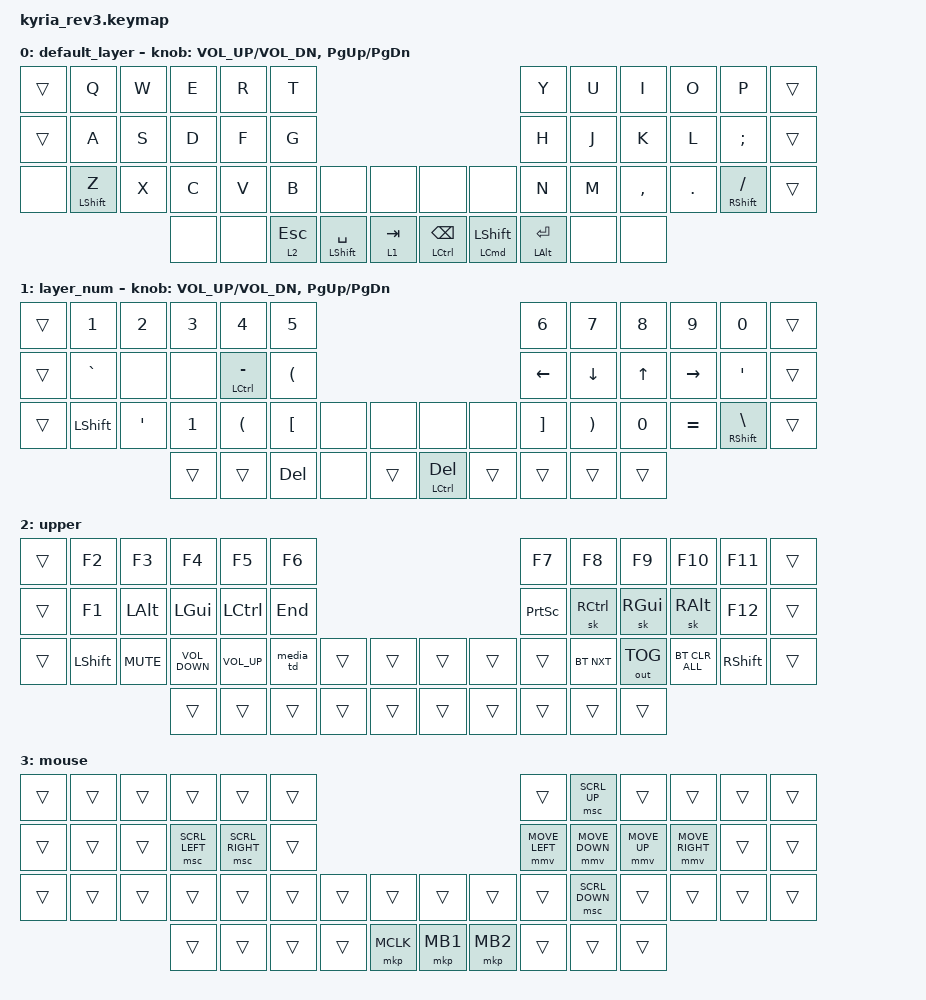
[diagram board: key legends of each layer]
/*
 * Copyright (c) 2020 The ZMK Contributors
 *
 * SPDX-License-Identifier: MIT
 */

#include <behaviors.dtsi>
#include <dt-bindings/zmk/bt.h>
#include <dt-bindings/zmk/keys.h>
#include <dt-bindings/zmk/outputs.h>
#include <dt-bindings/zmk/pointing.h>

#define ZMK_POINTING_DEFAULT_MOVE_VAL 1800  // default: 600
#define ZMK_POINTING_DEFAULT_SCRL_VAL 20    // default:

/ {
    behaviors {
        hm: hm {
            compatible = "zmk,behavior-hold-tap";
            label = "HOMEROW_MODS";
            bindings = <&kp>, <&kp>;

            #binding-cells = <2>;
            tapping-term-ms = <220>;
            quick-tap-ms = <200>;
            require-prior-idle-ms = <150>;
            flavor = "tap-preferred";
        };

        capswordminus: capswordminus {
            compatible = "zmk,behavior-caps-word";
            label = "CAPSWORDMINUS";
            #binding-cells = <0>;
            continue-list = <MINUS UNDERSCORE>;
        };

        layer_tap_bal: layer_tap_bal {
            compatible = "zmk,behavior-hold-tap";
            label = "LAYER_TAP_BAL";
            bindings = <&mo>, <&kp>;

            #binding-cells = <2>;
            flavor = "tap-preferred";
            tapping-term-ms = <150>;
            quick-tap-ms = <150>;
            require-prior-idle-ms = <100>;
        };

        lt_hold: lt_hold {
            compatible = "zmk,behavior-hold-tap";
            label = "LT_HOLD";
            bindings = <&mo>, <&kp>;

            #binding-cells = <2>;
            tapping-term-ms = <200>;
            quick-tap-ms = <200>;
        };

        media_td: media_td {
            compatible = "zmk,behavior-tap-dance";
            label = "MEDIA_TD";
            #binding-cells = <0>;
            bindings = <&kp C_PP>, <&kp C_NEXT>, <&kp C_PREVIOUS>;
        };

        thumb_tap: thumb_tap {
            compatible = "zmk,behavior-hold-tap";
            label = "THUMB_TAP";
            bindings = <&kp>, <&kp>;

            #binding-cells = <2>;
            tapping-term-ms = <220>;
            quick-tap-ms = <200>;
            require-prior-idle-ms = <150>;
            flavor = "tap-preferred";
        };

        thumb_tab_sticky: thumb_tab_sticky {
            compatible = "zmk,behavior-hold-tap";
            label = "THUMB_TAB_STICKY";
            bindings = <&kp>, <&sk>;

            #binding-cells = <2>;
            tapping-term-ms = <220>;
            quick-tap-ms = <200>;
            require-prior-idle-ms = <0>;
            flavor = "tap-preferred";
        };

        pinky_shift_l: pinky_shift_l {
            compatible = "zmk,behavior-hold-tap";
            label = "PINKY_SHIFT_L";
            bindings = <&kp>, <&kp>;

            #binding-cells = <2>;
            flavor = "balanced";
            tapping-term-ms = <150>;
            hold-trigger-key-positions = <34 37 36 35 18 19 20 21 22 38 10 9 8 7 6 27 28>;
        };

        pinky_shift_r: pinky_shift_r {
            compatible = "zmk,behavior-hold-tap";
            label = "PINKY_SHIFT_R";
            bindings = <&kp>, <&kp>;

            #binding-cells = <2>;
            flavor = "balanced";
            tapping-term-ms = <150>;
            hold-trigger-key-positions = <29 17 5 4 28 16 27 15 3 2 14 26 25 13 1>;
        };
    };

    combos {
        compatible = "zmk,combos";

        cwcombo {
            bindings = <&caps_word>;
            key-positions = <25 38>;
        };

        mouse_tog {
            bindings = <&tog 3>;
            key-positions = <10 1>;
        };

        homerow {
            bindings = <&kp LG(LS(SPACE))>;
            key-positions = <35 28>;
        };

        entermenter {
            bindings = <&kp ENTER>;
            key-positions = <15 20>;
            timeout-ms = <100>;
            require-prior-idle-ms = <125>;
        };
    };

    keymap {
        compatible = "zmk,keymap";

        default_layer {
            // ---------------------------------------------------------------------------------------------------------------------------------
            // |  ESC  |  Q  |  W  |  E   |  R   |  T   |                                          |  Y   |  U    |  I    |  O   |   P   |   \  |
            // |  TAB  |  A  |  S  |  D   |  F   |  G   |                                          |  H   |  J    |  K    |  L   |   ;   |   '  |
            // | SHIFT |  Z  |  X  |  C   |  V   |  B   | L SHIFT | L SHIFT |  | LAYER 1 | L SHIFT |  N   |  M    |  ,    |  .   |   /   | CTRL |
            //                     | GUI  | DEL  | RET  |  SPACE  |   ESC   |  |   RET   |  SPACE  | TAB  | BSPC  | R-ALT |

            bindings = <
&trans  &kp Q                        &kp W  &kp E  &kp R  &kp T                                                                                                                                    &kp Y                      &kp U  &kp I      &kp O    &kp P                             &trans
&trans  &kp A                        &kp S  &kp D  &kp F  &kp G                                                                                                                                    &kp H                      &kp J  &kp K      &kp L    &kp SEMICOLON                     &trans
&none   &pinky_shift_l LEFT_SHIFT Z  &kp X  &kp C  &kp V  &kp B              &none                        &none      &none                              &none                                      &kp N                      &kp M  &kp COMMA  &kp DOT  &pinky_shift_r RIGHT_SHIFT SLASH  &trans
                                            &none  &none  &lt_hold 2 ESCAPE  &thumb_tap LEFT_SHIFT SPACE  &lt 1 TAB  &thumb_tap LEFT_CONTROL BACKSPACE  &thumb_tab_sticky LEFT_COMMAND LEFT_SHIFT  &thumb_tap LEFT_ALT ENTER  &none  &none
            >;

            sensor-bindings = <&inc_dec_kp C_VOL_UP C_VOL_DN &inc_dec_kp PG_UP PG_DN>;
        };

        layer_num {
            label = "layer_num";
            bindings = <
&trans  &kp NUMBER_1    &kp NUMBER_2  &kp NUMBER_3  &kp NUMBER_4          &kp N5                                                                &kp NUMBER_6       &kp N7                 &kp N8  &kp N9     &kp N0                          &trans
&trans  &kp GRAVE       &none         &none         &hm LCTRL MINUS       &kp LEFT_PARENTHESIS                                                  &kp LEFT           &kp DOWN               &kp UP  &kp RIGHT  &kp SINGLE_QUOTE                &trans
&trans  &kp LEFT_SHIFT  &kp SQT       &kp NUMBER_1  &kp LEFT_PARENTHESIS  &kp LEFT_BRACKET      &none  &none   &none                    &none   &kp RIGHT_BRACKET  &kp RIGHT_PARENTHESIS  &kp N0  &kp EQUAL  &pinky_shift_r RSHFT BACKSLASH  &trans
                                      &trans        &trans                &kp DEL               &none  &trans  &thumb_tap LCTRL DELETE  &trans  &trans             &trans                 &trans
            >;

            sensor-bindings =
                <&inc_dec_kp C_VOL_UP C_VOL_DN>,
                <&inc_dec_kp PG_UP PG_DN>;
        };

        upper {
            bindings = <
&trans  &kp F2          &kp F3        &kp F4             &kp F5            &kp F6                                     &kp F7           &kp F8      &kp F9         &kp F10         &kp F11          &trans
&trans  &kp F1          &kp LEFT_ALT  &kp LEFT_GUI       &kp LEFT_CONTROL  &kp END                                    &kp PRINTSCREEN  &sk RCTRL   &sk RIGHT_GUI  &sk RIGHT_ALT   &kp F12          &trans
&trans  &kp LEFT_SHIFT  &kp C_MUTE    &kp C_VOLUME_DOWN  &kp C_VOLUME_UP   &media_td  &trans  &trans  &trans  &trans  &trans           &bt BT_NXT  &out OUT_TOG   &bt BT_CLR_ALL  &kp RIGHT_SHIFT  &trans
                                      &trans             &trans            &trans     &trans  &trans  &trans  &trans  &trans           &trans      &trans
            >;

            label = "upper";
        };

        mouse {
            bindings = <
&trans  &trans  &trans  &trans          &trans           &trans                                         &trans          &msc SCRL_UP    &trans        &trans           &trans  &trans
&trans  &trans  &trans  &msc SCRL_LEFT  &msc SCRL_RIGHT  &trans                                         &mmv MOVE_LEFT  &mmv MOVE_DOWN  &mmv MOVE_UP  &mmv MOVE_RIGHT  &trans  &trans
&trans  &trans  &trans  &trans          &trans           &trans  &trans  &trans     &trans    &trans    &trans          &msc SCRL_DOWN  &trans        &trans           &trans  &trans
                        &trans          &trans           &trans  &trans  &mkp MCLK  &mkp MB1  &mkp MB2  &trans          &trans          &trans
            >;
        };
    };

    conditional_layers { compatible = "zmk,conditional-layers"; };
};
